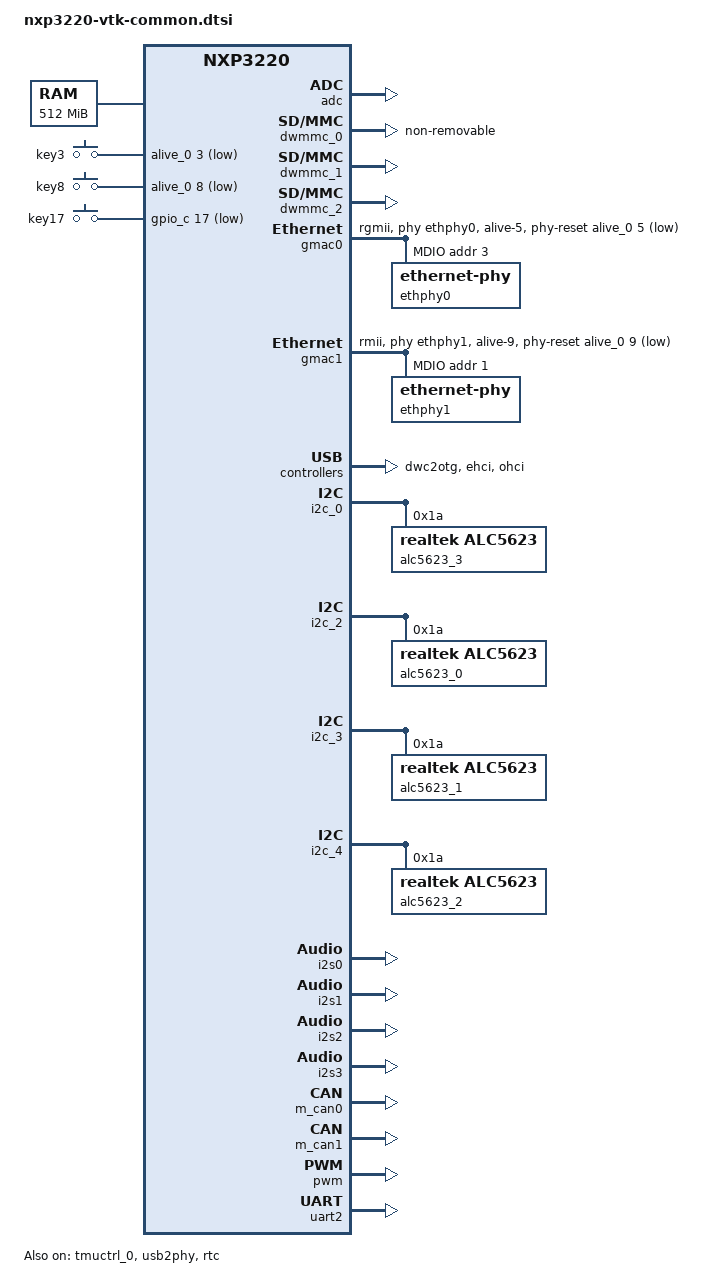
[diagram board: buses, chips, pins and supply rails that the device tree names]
// SPDX-License-Identifier: (GPL-2.0+ OR MIT)
/*
 * Copyright (C) 2018  Nexell Co., Ltd.
 * Author: JungHyun, Kim <jhkim@nexell.co.kr>
 */

#include <dt-bindings/gpio/gpio.h>
#include <dt-bindings/input/input.h>
#include "nxp3220.dtsi"

/ {
	compatible = "nexell,nxp3220-vtk", "nexell,nxp3220";

	chosen {
		stdout-path = &uart2;
	};

	memory@40000000 {
		device_type = "memory";
		reg = <0x40000000 0x20000000>;
	};

	reserved-memory {
		#address-cells = <1>;
		#size-cells = <1>;
		ranges;

		bl32_mem: bl32_mem@5f000000 {
			reg = <0x5f000000 0x1000000>;
			no-map;
		};
	};

	gpio_keys {
		compatible = "gpio-keys";
		#address-cells = <1>;
		#size-cells = <0>;
		pinctrl-names = "default";
		pinctrl-0 = <&key_3 &key_8 &key_17>;

		button@3 {
			label = "key3";
			gpios = <&alive_0 3 GPIO_ACTIVE_LOW>;
			linux,code = <KEY_3>;
			gpio-key,wakeup;
		};

		button@8 {
			label = "key8";
			gpios = <&alive_0 8 GPIO_ACTIVE_LOW>;
			linux,code = <KEY_8>;
			gpio-key,wakeup;
		};

		button@17 {
			label = "key17";
			gpios = <&gpio_c 17 GPIO_ACTIVE_LOW>;
			linux,code = <KEY_W>;
			gpio-key,wakeup;
		};
	};

	sound0: sound0 {
		compatible = "simple-audio-card";
		simple-audio-card,name = "nxp3220 Audio Card ALC5623";
		status = "okay";

		simple-audio-card,dai-link@0 {
			mclk-fs = <256>;
			format = "i2s";
			frame-master = <&sndcpu0>;
			bitclock-master = <&sndcpu0>;

			sndcpu0: cpu  {
				sound-dai = <&i2s0 0>;
			};

			sndcodec0: codec {
				sound-dai = <&alc5623_0>;
			};
		};
	};

	sound1: sound1 {
		compatible = "simple-audio-card";
		simple-audio-card,name = "nxp3220 Audio Card ALC5623";
		status = "okay";

		simple-audio-card,dai-link@0 {
			mclk-fs = <256>;
			format = "i2s";
			frame-master = <&sndcpu1>;
			bitclock-master = <&sndcpu1>;

			sndcpu1: cpu  {
				sound-dai = <&i2s1 0>;
			};

			sndcodec1: codec {
				sound-dai = <&alc5623_1>;
			};
		};
	};

	sound2: sound2 {
		compatible = "simple-audio-card";
		simple-audio-card,name = "nxp3220 Audio Card ALC5623";
		status = "okay";

		simple-audio-card,dai-link@0 {
			mclk-fs = <256>;
			format = "i2s";
			frame-master = <&sndcpu2>;
			bitclock-master = <&sndcpu2>;

			sndcpu2: cpu  {
				sound-dai = <&i2s2 0>;
			};

			sndcodec2: codec {
				sound-dai = <&alc5623_2>;
			};
		};
	};

	sound3: sound3 {
		compatible = "simple-audio-card";
		simple-audio-card,name = "nxp3220 Audio Card ALC5623";
		status = "okay";

		simple-audio-card,dai-link@0 {
			mclk-fs = <256>;
			format = "i2s";
			frame-master = <&sndcpu3>;
			bitclock-master = <&sndcpu3>;

			sndcpu3: cpu  {
				sound-dai = <&i2s3 0>;
			};

			sndcodec3: codec {
				sound-dai = <&alc5623_3>;
			};
		};
	};

	thermal-zones {
		cpu_thermal: cpu-thermal {
			thermal-sensors = <&tmuctrl_0>;
			polling-delay-passive = <1000>;
			polling-delay = <1000>;
			trips {
				cpu_alert0: cpu-alert-0 {
					temperature = <40000>;
					hysteresis = <10000>;
					type = "passive";
				};
				cpu_alert1: cpu-alert-1 {
					temperature = <50000>;
					hysteresis = <10000>;
					type = "passive";
				};
				cpu_alert2: cpu-alert-2 {
					temperature = <55000>;
					hysteresis = <10000>;
					type = "passive";
				};
				cpu-crit-0 {
					temperature = <65000>;
					hysteresis = <10000>;
					type = "critical";
				};
			};
		};
	};

};

&adc {
	status = "okay";
};

&dwmmc_0 {
	cap-mmc-highspeed;
	broken-cd;
	non-removable;
	nexell,drive_shift = <0x04>;
	nexell,sample_shift = <0x04>;
	card-detect-delay = <200>;
	disable-wp;
	status = "okay";
};

&dwmmc_1 {
	cap-sd-highspeed;
	broken-cd;
	nexell,drive_shift = <0x04>;
	nexell,sample_shift = <0x04>;
	card-detect-delay = <200>;
	disable-wp;
	status = "okay";
};

&dwmmc_2 {
	cap-mmc-highspeed;
	broken-cd;
	nexell,drive_shift = <0x04>;
	nexell,sample_shift = <0x04>;
	card-detect-delay = <200>;
	disable-wp;
	status = "okay";
};

&gmac0 {
	status = "okay";

	pinctrl-names = "default";
	pinctrl-0 = <&gmac0_pins>;
	phy-mode = "rgmii";
	phy-handle = <&ethphy0>;
	phy-reset-gpios = <&alive_0 5 GPIO_ACTIVE_LOW>;
	phy-intr-gpios = <&alive_0 4 GPIO_ACTIVE_LOW>;
	phy-pme-gpios = <&alive_0 6 GPIO_ACTIVE_LOW>;

	mdio@3 {
		#address-cells = <1>;
		#size-cells = <0>;

		ethphy0: ethernet-phy@3 {
			reg = <3>;
		};
	};
};

&gmac1 {
	status = "okay";

	pinctrl-names = "default";
	pinctrl-0 = <&gmac1_pins>;
	phy-mode = "rmii";
	phy-handle = <&ethphy1>;
	phy-reset-gpios = <&alive_0 9 GPIO_ACTIVE_LOW>;
	phy-intr-gpios = <&alive_0 7 GPIO_ACTIVE_LOW>;

	mdio@1 {
		#address-cells = <1>;
		#size-cells = <0>;

		ethphy1: ethernet-phy@1 {
			reg = <1>;
		};
	};
};

&dwc2otg {
	status = "okay";
	pinctrl-0 = <&otg_vbus_en>;
	pinctrl-names = "default";
};

&ehci {
	status = "okay";
};

&ohci {
	status = "okay";
};

&i2c_0 {
	status = "okay";
	#address-cells = <1>;
	#size-cells = <0>;

	alc5623_3: alc5623@1a {
		#sound-dai-cells = <0>;
		compatible = "realtek,alc5623";
		reg = <0x1a>;
	};
};

&i2c_2 {
	status = "okay";
	#address-cells = <1>;
	#size-cells = <0>;

	alc5623_0: alc5623@1a {
		#sound-dai-cells = <0>;
		compatible = "realtek,alc5623";
		reg = <0x1a>;
	};
};

&i2c_3 {
	status = "okay";
	#address-cells = <1>;
	#size-cells = <0>;

	alc5623_1: alc5623@1a {
		#sound-dai-cells = <0>;
		compatible = "realtek,alc5623";
		reg = <0x1a>;
	};
};

&i2c_4 {
	status = "okay";
	#address-cells = <1>;
	#size-cells = <0>;

	alc5623_2: alc5623@1a {
		#sound-dai-cells = <0>;
		compatible = "realtek,alc5623";
		reg = <0x1a>;
	};
};

&i2s0 {
	frame-bit = <32>;
	sample-rate = <48000>;
	status = "okay";
};

&i2s1 {
	frame-bit = <32>;
	sample-rate = <48000>;
	status = "okay";
};

&i2s2 {
	frame-bit = <32>;
	sample-rate = <48000>;
	status = "okay";
};

&i2s3 {
	frame-bit = <32>;
	sample-rate = <48000>;
	status = "okay";
};

&m_can0 {
	status = "okay";
};

&m_can1 {
	status = "okay";
};

&nand {
	nand-ecc-strength = <4>;
	nand-ecc-step-size = <512>;
	nand-timing-mode = <3>;

	wp-gpio = <&gpio_c 16 GPIO_ACTIVE_LOW>;
};

&pinctrl_0 {
	key_3: key@3 {
		nexell,pins = "alive-3";
		nexell,pin-function = <NX_PIN_FUNC0>;
		nexell,pin-pull = <NX_PIN_PULL_UP>;
		nexell,pin-strength = <NX_PIN_STR0>;
	};

	key_8: key@8 {
		nexell,pins = "alive-8";
		nexell,pin-function = <NX_PIN_FUNC0>;
		nexell,pin-pull = <NX_PIN_PULL_UP>;
		nexell,pin-strength = <NX_PIN_STR0>;
	};

	key_17: key@17 {
		nexell,pins = "gpioc-17";
		nexell,pin-function = <NX_PIN_FUNC0>;
		nexell,pin-pull = <NX_PIN_PULL_UP>;
		nexell,pin-strength = <NX_PIN_STR0>;
	};

	gmac0_pins: gmac0_pins {
		gmac0_nrst: gmac-nrst {
			nexell,pins = "alive-5";
			nexell,pin-function = <NX_PIN_FUNC0>;
			nexell,pin-pull = <NX_PIN_PULL_UP>;
			nexell,pin-strength = <NX_PIN_STR1>;
		};
	};

	gmac1_pins: gmac1_pins {
		gmac1_nrst: gmac-nrst {
			nexell,pins = "alive-9";
			nexell,pin-function = <NX_PIN_FUNC0>;
			nexell,pin-pull = <NX_PIN_PULL_UP>;
			nexell,pin-strength = <NX_PIN_STR1>;
		};
	};
};

&pwm {
	status = "okay";
};

&tmuctrl_0 {
	status = "okay";
};

&uart2 {
	status = "okay";
};

&usb2phy {
	status = "okay";
};

&rtc {
	status = "okay";
};

&nand_pwr_pin {
	PWR_PIN_INPUT(NAND, gpiob-9);
	PWR_PIN_INPUT(NAND, gpiob-10);
	PWR_PIN_INPUT(NAND, gpiob-11);
	PWR_PIN_INPUT(NAND, gpiob-12);
	PWR_PIN_INPUT(NAND, gpiob-13);
	PWR_PIN_INPUT(NAND, gpiob-14);
	PWR_PIN_INPUT(NAND, gpiob-15);
	PWR_PIN_INPUT(NAND, gpiob-16);
	PWR_PIN_INPUT(NAND, gpiob-17);
	PWR_PIN_INPUT(NAND, gpiob-18);
	PWR_PIN_INPUT(NAND, gpiob-19);
	PWR_PIN_INPUT(NAND, gpiob-20);
	PWR_PIN_INPUT(NAND, gpiob-21);
	PWR_PIN_INPUT(NAND, gpiob-22);
	PWR_PIN_INPUT(NAND, gpiob-23);
	PWR_PIN_INPUT(NAND, gpiob-24);
};

&gmac_pwr_pin {
	PWR_PIN_INPUT(GMAC, gpioc-18);
	PWR_PIN_INPUT(GMAC, gpioc-19);
	PWR_PIN_INPUT(GMAC, gpioc-20);
	PWR_PIN_INPUT(GMAC, gpioc-21);
	PWR_PIN_INPUT(GMAC, gpioc-22);
	PWR_PIN_INPUT(GMAC, gpioc-23);
	PWR_PIN_INPUT(GMAC, gpioc-24);
	PWR_PIN_INPUT(GMAC, gpioc-25);
	PWR_PIN_INPUT(GMAC, gpioc-26);
	PWR_PIN_INPUT(GMAC, gpioc-27);
	PWR_PIN_INPUT(GMAC, gpioc-28);
	PWR_PIN_INPUT(GMAC, gpioc-29);
	PWR_PIN_INPUT(GMAC, gpioc-30);
	PWR_PIN_INPUT(GMAC, gpioc-31);
	PWR_PIN_INPUT(GMAC, gpiod-0);
	PWR_PIN_INPUT(GMAC, gpiod-1);
	PWR_PIN_INPUT(GMAC, gpiod-2);
	PWR_PIN_INPUT(GMAC, gpiod-3);
	PWR_PIN_INPUT(GMAC, gpiod-4);
	PWR_PIN_INPUT(GMAC, gpiod-5);
	PWR_PIN_INPUT(GMAC, gpiod-6);
	PWR_PIN_INPUT(GMAC, gpiod-7);
	PWR_PIN_INPUT(GMAC, gpiod-8);
	PWR_PIN_INPUT(GMAC, gpiod-9);
};

&nand_data {
	nexell,pin-strength = <NX_PIN_STR3>;
};

&nand_cs0 {
	nexell,pin-strength = <NX_PIN_STR2>;
};

&nand_cs1 {
	nexell,pin-strength = <NX_PIN_STR2>;
};

&peri0_pwr_pin {
	/* Retention configuration all INPUT except gpioa-24(BOOT10) */
	PWR_PIN_DEF(PERI0, gpioa-24);
};

&peri1_pwr_pin {
	/* Retention configuration all INPUT except below gpios
	   gpiob-27(I2C0_SDA), gpiob-28(I2C0_SCL), gpioc-8(BOOT3),
	   gpioc-13(BOOT0) */
	PWR_PIN_DEF(PERI1, gpiob-27);
	PWR_PIN_DEF(PERI1, gpiob-28);
	PWR_PIN_DEF(PERI1, gpioc-8);
	PWR_PIN_DEF(PERI1, gpioc-13);
};

&peri2_pwr_pin {
	/* Retention configuration all INPUT except below gpios
	   gpiod-10(BOOT9), gpiod-12(BOOT8), gpiod-14(BOOT7), gpiod-16(BOOT6),
	   gpiod-22(BOOT5), gpiod-25(BOOT2), gpiod-26(BOOT4) */
	PWR_PIN_DEF(PERI2, gpiod-10);
	PWR_PIN_DEF(PERI2, gpiod-12);
	PWR_PIN_DEF(PERI2, gpiod-14);
	PWR_PIN_DEF(PERI2, gpiod-16);
	PWR_PIN_DEF(PERI2, gpiod-22);
	PWR_PIN_DEF(PERI2, gpiod-25);
	PWR_PIN_DEF(PERI2, gpiod-26);
};

&sdmmc_pwr_pin {
	PWR_PIN_INPUT(SDMMC, gpioa-29);
	PWR_PIN_INPUT(SDMMC, gpioa-30);
	PWR_PIN_INPUT(SDMMC, gpioa-31);
	PWR_PIN_INPUT(SDMMC, gpiob-0);
	PWR_PIN_INPUT(SDMMC, gpiob-1);
	PWR_PIN_INPUT(SDMMC, gpiob-2);
	PWR_PIN_INPUT(SDMMC, gpiob-3);
	PWR_PIN_INPUT(SDMMC, gpiob-4);
	PWR_PIN_INPUT(SDMMC, gpiob-5);
	PWR_PIN_INPUT(SDMMC, gpiob-6);
	PWR_PIN_INPUT(SDMMC, gpiob-7);
	PWR_PIN_INPUT(SDMMC, gpiob-8);
};

&vip_pwr_pin {
	PWR_PIN_INPUT(VIP, gpioe-2);
	PWR_PIN_INPUT(VIP, gpioe-3);
	PWR_PIN_INPUT(VIP, gpioe-4);
	PWR_PIN_INPUT(VIP, gpioe-5);
	PWR_PIN_INPUT(VIP, gpioe-6);
	PWR_PIN_INPUT(VIP, gpioe-7);
	PWR_PIN_INPUT(VIP, gpioe-8);
	PWR_PIN_INPUT(VIP, gpioe-9);
	PWR_PIN_INPUT(VIP, gpioe-10);
	PWR_PIN_INPUT(VIP, gpioe-11);
	PWR_PIN_INPUT(VIP, gpioe-12);
	PWR_PIN_INPUT(VIP, gpioe-13);
	PWR_PIN_INPUT(VIP, gpioe-14);
	PWR_PIN_INPUT(VIP, gpioe-15);
};
